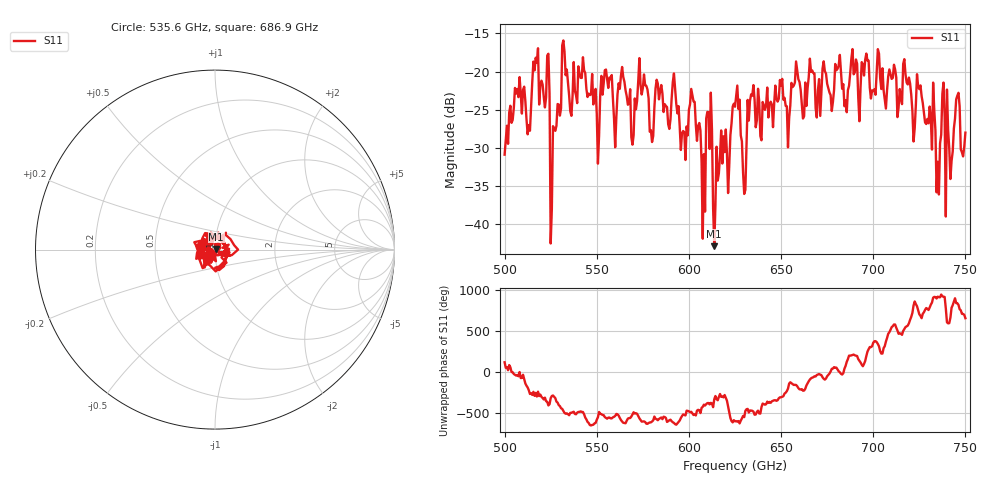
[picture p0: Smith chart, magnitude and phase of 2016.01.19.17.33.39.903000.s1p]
!Created with skrf (http://scikit-rf.org).
# GHz S RI R 50.0
!freq ReS11 ImS11
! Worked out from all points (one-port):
!   401 points, 500 GHz to 750 GHz, reference 50 ohm
!   lowest |S11| = -42.9 dB at 613.8 GHz (marker M1), VSWR 1.01, Z = 50.6 + j0.387 ohm
!   |S11| at or under -10 dB: start of sweep to end of sweep
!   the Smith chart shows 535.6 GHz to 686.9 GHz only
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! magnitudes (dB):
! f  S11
! 500 GHz  -30.9
! 506.9 GHz  -22.3
! 513.1 GHz  -27.0
! 516.9 GHz  -18.2
! 523.1 GHz  -17.9
! 526.2 GHz  -27.2
! 531.2 GHz  -16.6
! 550 GHz  -25.5
! 562.5 GHz  -22.3
! 570 GHz  -28.3
! 574.4 GHz  -23.0
! 580 GHz  -29.2
! 583.1 GHz  -21.6
! 593.8 GHz  -25.5
! 596.9 GHz  -27.8
! 601.9 GHz  -23.1
! 607.5 GHz  -41.9
! 611.2 GHz  -30.1
! 613.8 GHz  -42.9
! 625 GHz  -24.6
! 630 GHz  -36.0
! 634.4 GHz  -23.2
! 656.2 GHz  -22.0
! 687.5 GHz  -20.2
! 718.8 GHz  -21.7
! 735 GHz  -31.8
! 737.5 GHz  -22.9
! 750 GHz  -28.0
